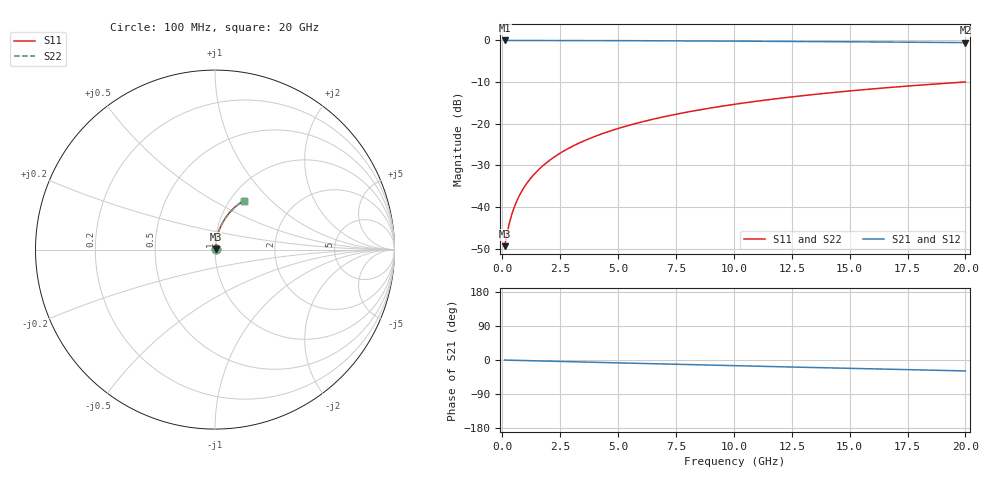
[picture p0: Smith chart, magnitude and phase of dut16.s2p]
! Touchstone file exported from HFSS 2026.1.0
!  File:  C:/ffzhzh/LocalFiles/Ansys_Project_Files/temp_test_TMRDL_16_1782907092_42304.aedt
!  Generated:  07:59:27 PM Jul  1, 2026
!  Design:  TMRDL
!  Project:  temp_test_TMRDL_16_1782907092_42304
! Variables:
!  h_bsmrdl = 2um
!  h_ox = 20um
!  h_rdl = 5um
!  h_sub = 80um
!  h_tmrdl = 3.08um
!  h_tsv = 80um
!  h_via = 3um
!  l_bsmrdl = 300um
!  l_sub = 767.39um
!  l_tmrdl = 367.39um
!  m_sub = 200um
!  pitch = 44.71um
!  r_tsv = 6um
!  s_tmrdl = 10um
!  w_bsmrdl = 18um
!  w_sub = 500um
!  w_tmrdl = 15.96um
!  x_tsv_center1 = 375.37um
!  x_tsv_center2 = 693.37um
!  x_tsv_center3 = 1076.72um
!  x_tsv_center4 = 1394.72um
!  x_tsv_center5 = 1778.07um
!  x_tsv_center6 = 2096.07um
# GHz S MA R 50.000000
! Terminal data exported
! Port[1] = TM_RDL1_1_T1
! Port[2] = TM_RDL1_1_T2
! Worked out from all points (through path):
!   200 points, 100 MHz to 20 GHz, reference 50 ohm
!   highest |S21| = -0.02 dB at 100 MHz (marker M1); lowest = -0.5 dB at 20 GHz (marker M2)
!   group delay of S21, straight-line fit = 4.01 ps
!   lowest |S11| = -49.4 dB at 100 MHz (marker M3), VSWR 1.01, Z = 50.3 + j0.188 ohm
!   |S11| at or under -10 dB: start of sweep to 19.96 GHz
!   |S22| runs from -49.4 to -10.0 dB; largest |S21 - S12| = 3.5e-15
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0.1  0.003393 33.5  0.9972 -0.2  0.9972 -0.2  0.003393 33.5
! Gamma 0 0 0 0
! Port Impedance 50 0 50 0
0.2  0.004723 52.1  0.9971 -0.3  0.9971 -0.3  0.004723 52.1
0.3  0.006309 61.6  0.997 -0.5  0.997 -0.5  0.006309 61.6
0.4  0.007976 67.0  0.9969 -0.6  0.9969 -0.6  0.007976 67.0
0.5  0.009669 70.5  0.9969 -0.8  0.9969 -0.8  0.009669 70.5
0.6  0.01137 72.9  0.9968 -0.9  0.9968 -0.9  0.01137 72.9
0.8  0.0148 76.0  0.9966 -1.2  0.9966 -1.2  0.0148 76.0
1.1  0.01997 78.6  0.9964 -1.7  0.9964 -1.7  0.01997 78.6
1.3  0.02343 79.6  0.9963 -2.0  0.9963 -2.0  0.02343 79.6
1.6  0.02865 80.6  0.9961 -2.4  0.9961 -2.4  0.02865 80.6
2.1  0.03736 81.3  0.9957 -3.2  0.9957 -3.2  0.03736 81.3
2.7  0.04782 81.4  0.9951 -4.1  0.9951 -4.1  0.04782 81.4
3.5  0.06173 81.0  0.9942 -5.3  0.9942 -5.3  0.06173 81.0
4.2  0.07385 80.4  0.9931 -6.4  0.9931 -6.4  0.07385 80.4
5  0.0876 79.5  0.9918 -7.6  0.9918 -7.6  0.0876 79.5
5.9  0.1029 78.5  0.99 -8.9  0.99 -8.9  0.1029 78.4
6.8  0.1181 77.3  0.988 -10.3  0.988 -10.3  0.1181 77.3
8.3  0.143 75.3  0.9841 -12.5  0.9841 -12.5  0.143 75.3
10.1  0.1721 72.8  0.9788 -15.1  0.9788 -15.1  0.1721 72.8
13.4  0.2234 68.3  0.9674 -19.8  0.9674 -19.8  0.2234 68.3
16.7  0.2717 63.9  0.9542 -24.4  0.9542 -24.4  0.2717 63.8
20  0.3167 59.6  0.9397 -28.8  0.9397 -28.8  0.3167 59.5
